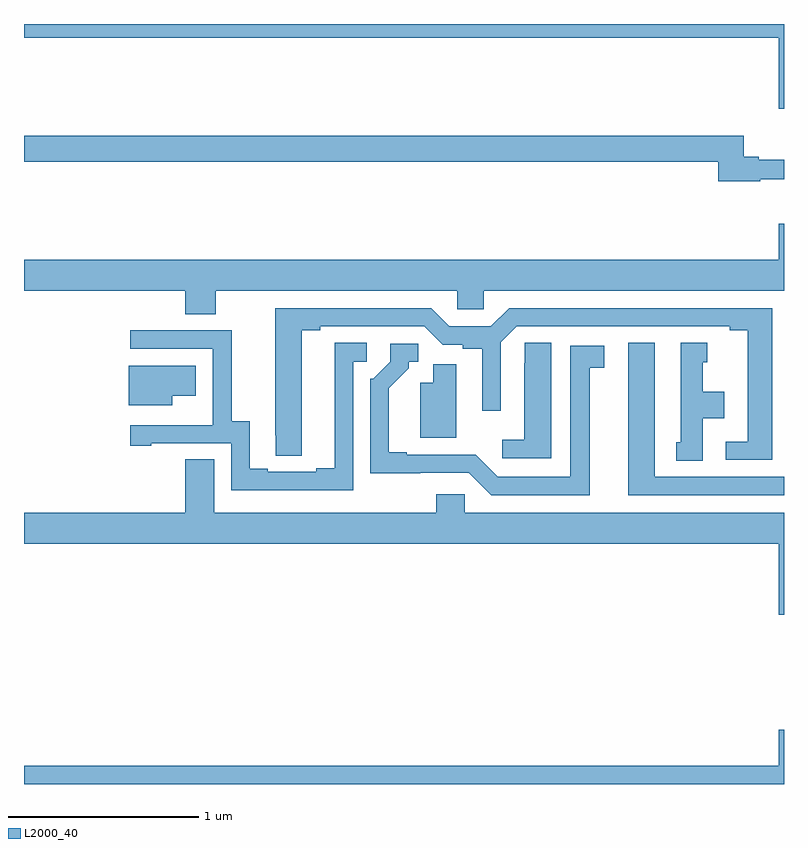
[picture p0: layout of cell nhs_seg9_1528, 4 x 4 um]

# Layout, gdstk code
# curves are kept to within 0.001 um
import gdstk
lib = gdstk.Library(unit=1e-6, precision=1e-09)
def P(c, l, *ps):  # polygons
    for p in ps: c.add(gdstk.Polygon(p, *l))
L2000_40 = (2000, 40)

nhs_seg9_1528 = lib.new_cell('nhs_seg9_1528')
P(nhs_seg9_1528, L2000_40, [(201,1188.5),(197,1188.5),(197,1188.428),(200.972,1188.428),(200.972,1188.054),(201,1188.054)],
  [(200.876,1187.683),(201,1187.683),(201,1187.786),(200.866,1187.786),(200.866,1187.801),(200.789,1187.801),(200.789,1187.912),(197,1187.912),(197,1187.776),(200.653,1187.776),(200.653,1187.673),(200.876,1187.673)],
  [(198.009,1187.096),(199.281,1187.096),(199.281,1186.998),(199.419,1186.998),(199.419,1187.096),(201,1187.096),(201,1187.449),(200.972,1187.449),(200.972,1187.26),(197,1187.26),(197,1187.096),(197.849,1187.096),(197.849,1186.972),(198.009,1186.972)],
  [(200.938,1187.004),(199.553,1187.004),(199.457,1186.908),(199.239,1186.908),(199.143,1187.004),(198.323,1187.004),(198.324,1186.228),(198.463,1186.228),(198.463,1186.888),(198.559,1186.888),(198.559,1186.908),(199.107,1186.908),(199.203,1186.812),(199.308,1186.812),(199.308,1186.792),(199.412,1186.792),(199.412,1186.464),(199.509,1186.464),(199.509,1186.824),(199.593,1186.908),(200.714,1186.908),(200.714,1186.888),(200.81,1186.888),(200.81,1186.302),(200.694,1186.302),(200.694,1186.206),(200.938,1186.206)],
  [(198.732,1186.722),(198.805,1186.722),(198.805,1186.823),(198.635,1186.823),(198.635,1186.163),(198.539,1186.163),(198.539,1186.143),(198.283,1186.143),(198.283,1186.158),(198.187,1186.158),(198.187,1186.409),(198.093,1186.409),(198.093,1186.887),(197.559,1186.887),(197.559,1186.791),(197.994,1186.791),(197.994,1186.39),(197.993,1186.39),(197.993,1186.389),(197.559,1186.389),(197.559,1186.281),(197.671,1186.281),(197.671,1186.293),(198.09,1186.293),(198.09,1186.047),(198.732,1186.047)],
  [(199.774,1186.823),(199.635,1186.823),(199.635,1186.715),(199.634,1186.715),(199.634,1186.312),(199.518,1186.312),(199.518,1186.215),(199.774,1186.215)],
  [(201,1186.116),(200.32,1186.116),(200.32,1186.822),(200.18,1186.822),(200.18,1186.02),(201,1186.02)],
  [(200.572,1186.424),(200.686,1186.424),(200.686,1186.564),(200.572,1186.564),(200.572,1186.719),(200.596,1186.719),(200.596,1186.822),(200.456,1186.822),(200.456,1186.299),(200.432,1186.299),(200.432,1186.201),(200.572,1186.201)],
  [(199.978,1186.69),(200.053,1186.69),(200.053,1186.806),(199.874,1186.806),(199.874,1186.116),(199.494,1186.116),(199.377,1186.233),(199.015,1186.233),(199.015,1186.246),(198.919,1186.246),(198.919,1186.582),(199.024,1186.687),(199.024,1186.722),(199.074,1186.722),(199.074,1186.818),(198.927,1186.818),(198.927,1186.722),(198.837,1186.632),(198.822,1186.632),(198.822,1186.136),(199.341,1186.137),(199.458,1186.02),(199.978,1186.02)],
  [(199.276,1186.71),(199.154,1186.71),(199.154,1186.612),(199.085,1186.612),(199.085,1186.322),(199.276,1186.322)],
  [(197.779,1186.544),(197.905,1186.544),(197.905,1186.702),(197.552,1186.702),(197.552,1186.493),(197.779,1186.493)],
  [(200.972,1185.39),(201,1185.39),(201,1185.928),(199.32,1185.928),(199.32,1186.026),(199.169,1186.026),(199.169,1185.928),(198.001,1185.928),(198.001,1186.208),(197.849,1186.208),(197.849,1185.928),(197,1185.928),(197,1185.764),(200.972,1185.764)],
  [(201,1184.785),(200.972,1184.785),(200.972,1184.596),(197,1184.596),(197,1184.5),(201,1184.5)])

lib.write_gds('nhs_seg9_1528.gds')
